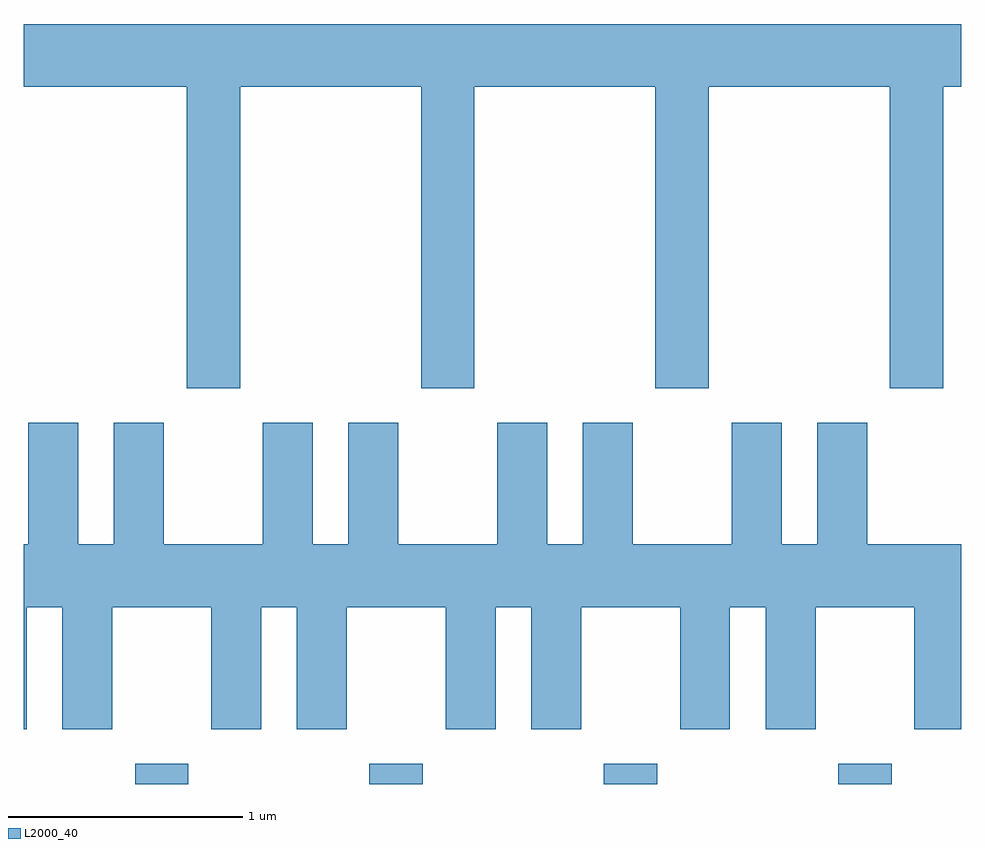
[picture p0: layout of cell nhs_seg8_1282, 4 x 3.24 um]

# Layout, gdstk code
import gdstk
lib = gdstk.Library(unit=1e-6, precision=1e-09)
def R(c, l, rs):  # rectangles x0, y0, x1, y1
    for r in rs: c.add(gdstk.rectangle(r[:2], r[2:], *l))
def A(c, l, x, y, w, h, nx, ny, dx, dy):  # array of equal rectangles
    R(c, l, [(x+i*dx, y+j*dy, x+i*dx+w, y+j*dy+h) for i in range(nx) for j in range(ny)])
def P(c, l, *ps):  # polygons
    for p in ps: c.add(gdstk.Polygon(p, *l))
L2000_40 = (2000, 40)

nhs_seg8_1282 = lib.new_cell('nhs_seg8_1282')
A(nhs_seg8_1282, L2000_40, 224.086, 1822.342, 0.228, 0.087, 4, 1, 1, 0)
P(nhs_seg8_1282, L2000_40, [(224.534,1825.316),(225.306,1825.316),(225.306,1824.031),(225.534,1824.031),(225.534,1825.316),(226.306,1825.316),(226.306,1824.031),(226.534,1824.031),(226.534,1825.316),(227.306,1825.316),(227.306,1824.031),(227.534,1824.031),(227.534,1825.316),(227.611,1825.316),(227.611,1825.584),(223.611,1825.584),(223.611,1825.316),(224.306,1825.316),(224.306,1824.031),(224.534,1824.031)],
  [(225.844,1823.884),(225.631,1823.884),(225.631,1823.364),(225.209,1823.364),(225.209,1823.884),(224.996,1823.884),(224.996,1823.364),(224.844,1823.364),(224.844,1823.884),(224.631,1823.884),(224.631,1823.364),(224.209,1823.364),(224.209,1823.884),(223.996,1823.884),(223.996,1823.364),(223.844,1823.364),(223.844,1823.884),(223.631,1823.884),(223.631,1823.364),(223.611,1823.364),(223.611,1822.576),(223.624,1822.576),(223.624,1823.096),(223.776,1823.096),(223.776,1822.576),(223.989,1822.576),(223.989,1823.096),(224.411,1823.096),(224.411,1822.576),(224.624,1822.576),(224.624,1823.096),(224.776,1823.096),(224.776,1822.576),(224.989,1822.576),(224.989,1823.096),(225.411,1823.096),(225.411,1822.576),(225.624,1822.576),(225.624,1823.096),(225.776,1823.096),(225.776,1822.576),(225.989,1822.576),(225.989,1823.096),(226.411,1823.096),(226.411,1822.576),(226.624,1822.576),(226.624,1823.096),(226.776,1823.096),(226.776,1822.576),(226.989,1822.576),(226.989,1823.096),(227.411,1823.096),(227.411,1822.576),(227.611,1822.576),(227.611,1823.364),(227.209,1823.364),(227.209,1823.884),(226.996,1823.884),(226.996,1823.364),(226.844,1823.364),(226.844,1823.884),(226.631,1823.884),(226.631,1823.364),(226.209,1823.364),(226.209,1823.884),(225.996,1823.884),(225.996,1823.364),(225.844,1823.364)])

lib.write_gds('nhs_seg8_1282.gds')
